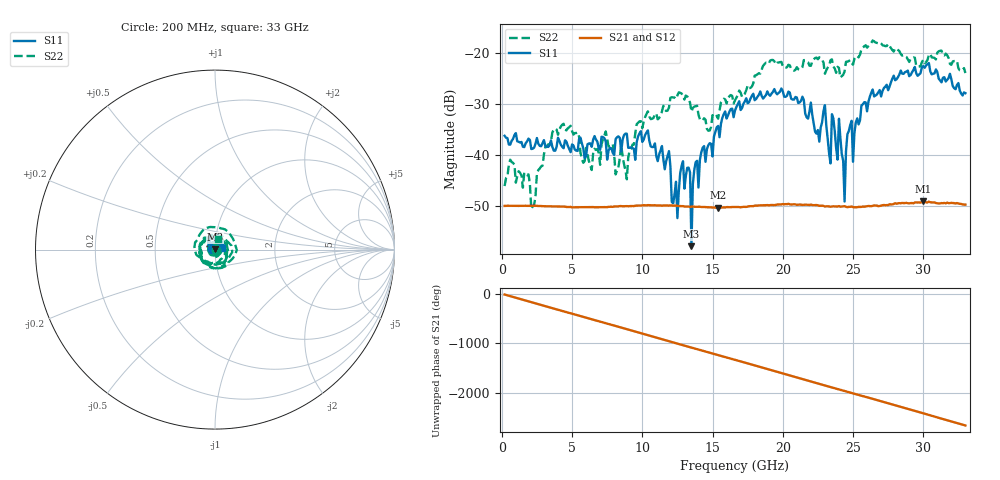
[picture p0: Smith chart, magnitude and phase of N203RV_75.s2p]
# GHZ S RI R 50
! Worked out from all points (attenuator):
!   329 points, 200 MHz to 33 GHz, reference 50 ohm
!   highest |S21| = -49.07 dB at 30 GHz (marker M1); lowest = -50.3 dB at 15.4 GHz (marker M2)
!   lowest |S11| = -57.8 dB at 13.5 GHz (marker M3), VSWR 1.00, Z = 49.9 + j0.111 ohm
!   |S11| at or under -10 dB: start of sweep to end of sweep
!   |S22| runs from -50.5 to -17.6 dB; largest |S21 - S12| = 7.4e-05
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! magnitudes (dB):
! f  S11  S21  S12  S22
! 200 MHz  -36.2  -50.0  -49.9  -46.1
! 5.7 GHz  -37.7  -50.2  -50.2  -40.7
! 8.9 GHz  -35.8  -50.0  -50.0  -44.7
! 11.2 GHz  -39.9  -49.8  -49.8  -32.8
! 12.5 GHz  -52.3  -49.9  -49.9  -28.4
! 13.3 GHz  -42.5  -50.1  -50.1  -29.0
! 13.5 GHz  -57.8  -50.1  -50.1  -31.6
! 13.8 GHz  -41.4  -50.1  -50.1  -30.5
! 15.4 GHz  -34.3  -50.3  -50.3  -32.9
! 16.6 GHz  -31.3  -50.2  -50.2  -29.3
! 22.1 GHz  -32.1  -49.8  -49.7  -21.7
! 23 GHz  -30.3  -50.1  -50.0  -24.1
! 23.4 GHz  -41.6  -50.1  -50.1  -21.5
! 23.5 GHz  -32.0  -50.1  -50.0  -21.3
! 23.9 GHz  -40.9  -50.1  -50.0  -22.8
! 24 GHz  -32.9  -50.0  -50.0  -23.0
! 24.4 GHz  -49.1  -50.0  -50.0  -23.7
! 24.9 GHz  -33.3  -50.1  -50.1  -22.0
! 25 GHz  -41.3  -50.2  -50.2  -22.4
! 27.6 GHz  -26.6  -49.6  -49.6  -18.7
! 30 GHz  -22.6  -49.1  -49.2  -21.4
! 33 GHz  -27.9  -49.7  -49.7  -24.0
